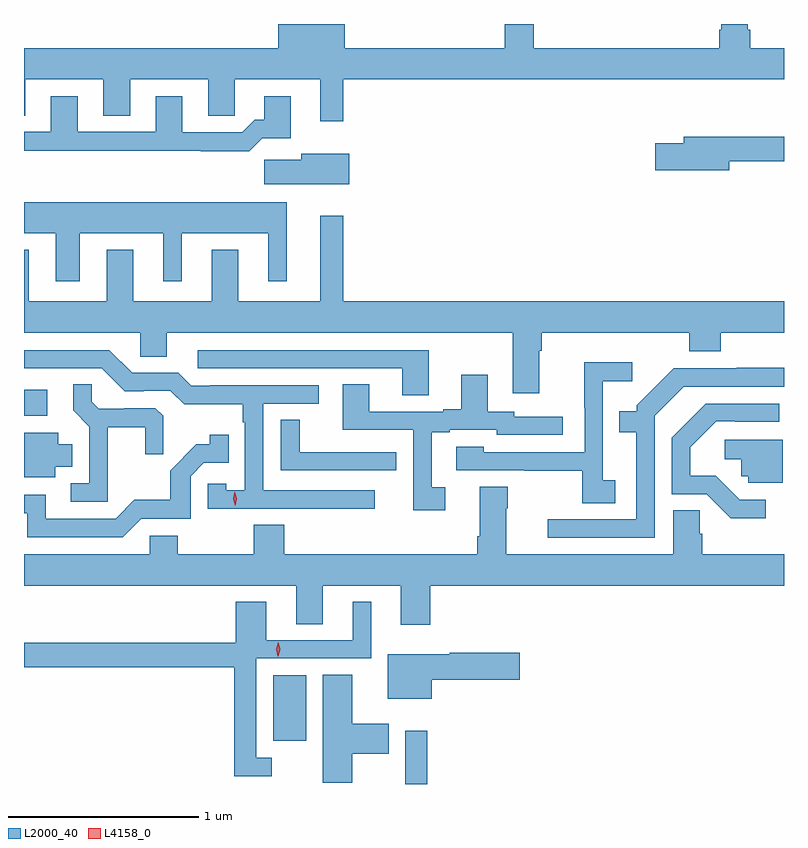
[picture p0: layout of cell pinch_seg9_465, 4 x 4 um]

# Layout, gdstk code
import gdstk
lib = gdstk.Library(unit=1e-6, precision=1e-09)
def R(c, l, rs):  # rectangles x0, y0, x1, y1
    for r in rs: c.add(gdstk.rectangle(r[:2], r[2:], *l))
def P(c, l, *ps):  # polygons
    for p in ps: c.add(gdstk.Polygon(p, *l))
L2000_40 = (2000, 40)
L4158_0 = (4158, 0)

pinch_seg9_465 = lib.new_cell('pinch_seg9_465')
R(pinch_seg9_465, L2000_40, [(338.067,1183.388,338.183,1183.669), (337.373,1183.616,337.546,1183.96), (336.061,1185.327,336.184,1185.463)])
P(pinch_seg9_465, L2000_40, [(340.061,1187.26),(339.884,1187.26),(339.884,1187.358),(339.871,1187.358),(339.871,1187.388),(339.731,1187.388),(339.731,1187.358),(339.719,1187.358),(339.719,1187.26),(338.744,1187.26),(338.744,1187.388),(338.591,1187.388),(338.591,1187.26),(337.75,1187.26),(337.75,1187.388),(337.4,1187.388),(337.4,1187.26),(336.061,1187.26),(336.061,1186.906),(336.067,1186.906),(336.067,1187.096),(336.479,1187.096),(336.479,1186.906),(336.619,1186.906),(336.619,1187.096),(337.031,1187.096),(337.031,1186.906),(337.17,1186.906),(337.17,1187.096),(337.619,1187.096),(337.619,1186.875),(337.741,1186.875),(337.741,1187.096),(340.061,1187.096)],
  [(337.316,1186.787),(337.465,1186.787),(337.465,1187.008),(337.325,1187.008),(337.325,1186.885),(337.276,1186.885),(337.209,1186.818),(336.895,1186.818),(336.895,1187.008),(336.755,1187.008),(336.755,1186.821),(336.343,1186.821),(336.343,1187.008),(336.203,1187.008),(336.203,1186.821),(336.061,1186.821),(336.061,1186.72),(336.991,1186.72),(336.991,1186.718),(337.247,1186.718)],
  [(339.772,1186.666),(340.061,1186.666),(340.061,1186.795),(339.533,1186.795),(339.533,1186.761),(339.384,1186.761),(339.384,1186.619),(339.772,1186.619)],
  [(337.774,1186.705),(337.52,1186.705),(337.52,1186.673),(337.326,1186.673),(337.326,1186.544),(337.774,1186.544)],
  [(336.355,1186.286),(336.794,1186.286),(336.794,1186.035),(336.892,1186.035),(336.892,1186.286),(337.346,1186.286),(337.346,1186.035),(337.444,1186.035),(337.444,1186.45),(336.061,1186.45),(336.061,1186.286),(336.227,1186.286),(336.227,1186.035),(336.355,1186.035)],
  [(338.773,1185.668),(338.786,1185.668),(338.786,1185.764),(339.563,1185.764),(339.563,1185.665),(339.728,1185.665),(339.728,1185.764),(340.061,1185.764),(340.061,1185.928),(337.741,1185.928),(337.741,1186.378),(337.619,1186.378),(337.619,1185.928),(337.189,1185.928),(337.189,1186.201),(337.049,1186.201),(337.049,1185.928),(336.637,1185.928),(336.637,1186.201),(336.497,1186.201),(336.497,1185.928),(336.085,1185.928),(336.085,1186.201),(336.061,1186.201),(336.061,1185.764),(336.672,1185.764),(336.672,1185.637),(336.811,1185.637),(336.811,1185.764),(338.633,1185.764),(338.633,1185.444),(338.773,1185.444)],
  [(338.191,1185.672),(336.975,1185.672),(336.975,1185.576),(338.051,1185.576),(338.051,1185.433),(338.191,1185.433)],
  [(337.906,1184.934),(337.32,1184.934),(337.32,1185.39),(337.612,1185.39),(337.612,1185.486),(337.042,1185.486),(337.042,1185.483),(336.942,1185.483),(336.873,1185.552),(336.63,1185.552),(336.51,1185.672),(336.061,1185.672),(336.061,1185.576),(336.471,1185.576),(336.591,1185.456),(336.692,1185.456),(336.692,1185.459),(336.831,1185.459),(336.904,1185.386),(337.212,1185.386),(337.212,1185.293),(337.224,1185.293),(337.224,1184.935),(337.125,1184.935),(337.125,1184.967),(337.029,1184.967),(337.029,1184.838),(337.513,1184.838),(337.513,1184.836),(337.906,1184.836)],
  [(339.172,1184.988),(339.108,1184.988),(339.108,1185.509),(339.262,1185.509),(339.262,1185.607),(339.01,1185.607),(339.01,1185.368),(339.012,1185.368),(339.012,1185.135),(338.481,1185.135),(338.481,1185.163),(338.337,1185.163),(338.337,1185.039),(338.695,1185.039),(338.695,1185.037),(339,1185.037),(339,1184.866),(339.172,1184.866)],
  [(339.381,1185.327),(339.534,1185.48),(340.061,1185.48),(340.061,1185.578),(339.811,1185.578),(339.811,1185.576),(339.48,1185.576),(339.285,1185.381),(339.285,1185.349),(339.193,1185.349),(339.193,1185.24),(339.284,1185.24),(339.284,1184.781),(338.817,1184.781),(338.817,1184.685),(339.381,1184.685)],
  [(338.278,1184.949),(338.206,1184.949),(338.206,1185.24),(338.302,1185.24),(338.302,1185.252),(338.55,1185.252),(338.55,1185.225),(338.896,1185.225),(338.896,1185.321),(338.64,1185.321),(338.64,1185.348),(338.503,1185.348),(338.503,1185.541),(338.363,1185.541),(338.363,1185.361),(338.267,1185.361),(338.267,1185.348),(337.879,1185.348),(337.879,1185.491),(337.739,1185.491),(337.739,1185.252),(338.109,1185.252),(338.109,1184.829),(338.278,1184.829)],
  [(336.503,1185.266),(336.7,1185.266),(336.7,1185.123),(336.794,1185.123),(336.794,1185.325),(336.753,1185.366),(336.588,1185.366),(336.588,1185.363),(336.454,1185.363),(336.417,1185.4),(336.417,1185.491),(336.319,1185.491),(336.319,1185.355),(336.405,1185.269),(336.405,1184.97),(336.306,1184.97),(336.306,1184.874),(336.503,1184.874)],
  [(339.964,1184.883),(339.828,1184.883),(339.701,1185.01),(339.568,1185.01),(339.568,1185.16),(339.705,1185.297),(339.805,1185.297),(339.805,1185.294),(340.036,1185.294),(340.036,1185.39),(339.65,1185.39),(339.471,1185.211),(339.471,1184.913),(339.654,1184.913),(339.782,1184.786),(339.964,1184.786)],
  [(338.02,1185.134),(337.907,1185.134),(337.907,1185.135),(337.512,1185.135),(337.512,1185.305),(337.413,1185.305),(337.413,1185.039),(338.02,1185.039)],
  [(336.226,1185.059),(336.316,1185.059),(336.316,1185.175),(336.241,1185.175),(336.241,1185.238),(336.061,1185.238),(336.061,1185.002),(336.226,1185.002)],
  [(336.678,1184.784),(336.939,1184.784),(336.939,1185.009),(337.008,1185.078),(337.139,1185.078),(337.139,1185.226),(337.038,1185.226),(337.038,1185.176),(336.968,1185.176),(336.831,1185.038),(336.831,1184.883),(336.642,1184.883),(336.543,1184.784),(336.175,1184.784),(336.175,1184.91),(336.061,1184.91),(336.061,1184.814),(336.077,1184.814),(336.077,1184.688),(336.582,1184.688)],
  [(340.054,1185.201),(339.75,1185.201),(339.75,1185.098),(339.837,1185.098),(339.837,1185.009),(339.873,1185.009),(339.873,1184.973),(340.054,1184.973)],
  [(338.198,1184.432),(340.061,1184.432),(340.061,1184.596),(339.632,1184.596),(339.632,1184.706),(339.617,1184.706),(339.617,1184.828),(339.479,1184.828),(339.479,1184.596),(338.599,1184.596),(338.599,1184.84),(338.607,1184.84),(338.607,1184.953),(338.459,1184.953),(338.459,1184.692),(338.447,1184.692),(338.447,1184.596),(337.43,1184.596),(337.43,1184.753),(337.27,1184.753),(337.27,1184.596),(336.87,1184.596),(336.87,1184.694),(336.723,1184.694),(336.723,1184.596),(336.061,1184.596),(336.061,1184.432),(337.493,1184.432),(337.493,1184.23),(337.633,1184.23),(337.633,1184.432),(338.045,1184.432),(338.045,1184.226),(338.198,1184.226)],
  [(337.366,1183.527),(337.284,1183.527),(337.284,1184.049),(337.888,1184.049),(337.888,1184.347),(337.79,1184.347),(337.79,1184.145),(337.336,1184.145),(337.336,1184.347),(337.175,1184.347),(337.175,1184.131),(336.061,1184.131),(336.061,1184.002),(337.168,1184.002),(337.168,1183.43),(337.366,1183.43)],
  [(338.206,1183.937),(338.671,1183.937),(338.671,1184.079),(338.302,1184.079),(338.302,1184.071),(337.976,1184.071),(337.976,1183.838),(338.206,1183.838)],
  [(337.789,1183.547),(337.982,1183.547),(337.982,1183.705),(337.789,1183.705),(337.789,1183.964),(337.634,1183.964),(337.634,1183.395),(337.789,1183.395)])
P(pinch_seg9_465, L4158_0, [(337.397,1184.061),(337.397,1184.061),(337.389,1184.097),(337.4,1184.133),(337.4,1184.133),(337.4,1184.133),(337.409,1184.097),(337.398,1184.061)],
  [(337.173,1184.853),(337.173,1184.853),(337.162,1184.889),(337.17,1184.925),(337.17,1184.925),(337.17,1184.925),(337.182,1184.89),(337.173,1184.853)])

lib.write_gds('pinch_seg9_465.gds')
